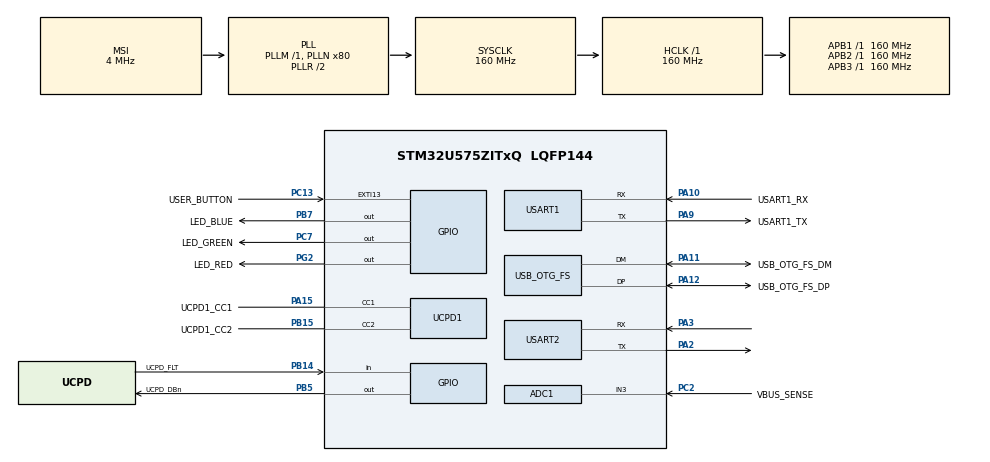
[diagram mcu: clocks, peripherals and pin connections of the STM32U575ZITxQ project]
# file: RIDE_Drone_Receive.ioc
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ADC1.NbrOfConversion=1
ADC1.Resolution=ADC_RESOLUTION_14B
ADC1.master=1
CORTEX_M33_NS.userName=CORTEX_M33
Mcu.Family=STM32U5
Mcu.Name=STM32U575ZITxQ
Mcu.Package=LQFP144
NVIC.OTG_FS_IRQn=true\:0\:0\:false\:false\:true\:true\:true\:true
NVIC.PriorityGroup=NVIC_PRIORITYGROUP_3
NVIC.USART2_IRQn=true\:0\:0\:false\:false\:true\:true\:true\:true
PA10.GPIO_Label=USART1_RX
PA10.GPIO_PuPd=GPIO_PULLDOWN
PA10.GPIO_Speed=GPIO_SPEED_FREQ_VERY_HIGH
PA10.Mode=Asynchronous
PA10.Signal=USART1_RX
PA11.GPIO_Label=USB_OTG_FS_DM
PA11.GPIO_Speed=GPIO_SPEED_FREQ_VERY_HIGH
PA11.Mode=Device_Only
PA11.Signal=USB_OTG_FS_DM
PA12.GPIO_Label=USB_OTG_FS_DP
PA12.GPIO_Speed=GPIO_SPEED_FREQ_VERY_HIGH
PA12.Mode=Device_Only
PA12.Signal=USB_OTG_FS_DP
PA13\ (JTMS/SWDIO).Mode=Trace_Asynchronous_SW
PA13\ (JTMS/SWDIO).Signal=DEBUG_JTMS-SWDIO
PA14\ (JTCK/SWCLK).Mode=Trace_Asynchronous_SW
PA14\ (JTCK/SWCLK).Signal=DEBUG_JTCK-SWCLK
PA15\ (JTDI).GPIO_Label=UCPD1_CC1
PA15\ (JTDI).Mode=Sink_AllSignals
PA15\ (JTDI).Signal=UCPD1_CC1
PA2.Mode=Asynchronous
PA2.Signal=USART2_TX
PA3.Mode=Asynchronous
PA3.Signal=USART2_RX
PA9.GPIO_Label=USART1_TX
PA9.GPIO_PuPd=GPIO_PULLDOWN
PA9.GPIO_Speed=GPIO_SPEED_FREQ_VERY_HIGH
PA9.Mode=Asynchronous
PA9.Signal=USART1_TX
PB14.GPIO_Label=UCPD_FLT
PB14.Signal=GPIO_Input
PB15.GPIO_Label=UCPD1_CC2
PB15.Mode=Sink_AllSignals
PB15.Signal=UCPD1_CC2
PB3\ (JTDO/TRACESWO).Mode=Trace_Asynchronous_SW
PB3\ (JTDO/TRACESWO).Signal=DEBUG_JTDO-SWO
PB5.GPIO_Label=UCPD_DBn
PB5.Signal=GPIO_Output
PB7.GPIO_Label=LED_BLUE
PB7.GPIO_ModeDefaultOutputPP=GPIO_MODE_OUTPUT_PP
PB7.GPIO_PuPd=GPIO_PULLUP
PB7.GPIO_Speed=GPIO_SPEED_FREQ_HIGH
PB7.Signal=GPIO_Output
PC13.GPIO_Label=USER_BUTTON
PC13.GPIO_ModeDefaultEXTI=GPIO_MODE_IT_FALLING
PC13.Signal=GPXTI13
PC14-OSC32_IN\ (PC14).Mode=LSE-External-Oscillator
PC14-OSC32_IN\ (PC14).Signal=RCC_OSC32_IN
PC15-OSC32_OUT\ (PC15).Mode=LSE-External-Oscillator
PC15-OSC32_OUT\ (PC15).Signal=RCC_OSC32_OUT
PC2.GPIO_Label=VBUS_SENSE
PC2.Mode=IN3-Single-Ended
PC2.Signal=ADC1_IN3
PC7.GPIO_Label=LED_GREEN
PC7.GPIO_PuPd=GPIO_PULLUP
PC7.GPIO_Speed=GPIO_SPEED_FREQ_HIGH
PC7.Signal=GPIO_Output
PG2.GPIO_Label=LED_RED
PG2.GPIO_ModeDefaultOutputPP=GPIO_MODE_OUTPUT_PP
PG2.GPIO_PuPd=GPIO_PULLUP
PG2.GPIO_Speed=GPIO_SPEED_FREQ_HIGH
PG2.Signal=GPIO_Output
PWR.PowerMode=PWR_SMPS_SUPPLY
ProjectManager.HeapSize=0x200
ProjectManager.StackSize=0x400
ProjectManager.TargetToolchain=STM32CubeIDE
RCC.ADCFreq_Value=16000000
RCC.AHBFreq_Value=160000000
RCC.APB1Freq_Value=160000000
RCC.APB1TimFreq_Value=160000000
RCC.APB2Freq_Value=160000000
RCC.APB2TimFreq_Value=160000000
RCC.APB3Freq_Value=160000000
RCC.CortexFreq_Value=160000000
RCC.DACCLockSelectionVirtual=RCC_DAC1CLKSOURCE_LSI
RCC.EPOD_VALUE=4000000
RCC.HCLKFreq_Value=160000000
RCC.HSE_VALUE=16000000
RCC.HSI48_VALUE=48000000
RCC.HSI_VALUE=16000000
RCC.LSIDIV_VALUE=32000
RCC.MSI_VALUE=4000000
RCC.PLLN=80
RCC.SYSCLKFreq_VALUE=160000000
RCC.SYSCLKSource=RCC_SYSCLKSOURCE_PLLCLK
RCC.USBFreq_Value=48000000
RCC.VCOOutputFreq_Value=320000000
USART1.VirtualMode-Asynchronous=VM_ASYNC
USART2.VirtualMode-Asynchronous=VM_ASYNC
USB_OTG_FS.VirtualMode=Device_Only
VP_ICACHE_VS_ENABLE_ICACHE_MEMORY.Mode=Memoryregions
VP_ICACHE_VS_ICACHE.Mode=DirectMappedCache
VP_LPBAMQUEUE_VS_QUEUE.Mode=QUEUEMODE
VP_LPBAM_VS_SIG1.Mode=SmartRun
VP_LPBAM_VS_SIG4.Mode=LPDMA1
VP_MEMORYMAP_VS_MEMORYMAP.Mode=CurAppReg
VP_PWR_VS_DBSignals.Mode=DisableDeadBatterySignals
VP_PWR_VS_LPOM.Mode=PowerOptimisation
VP_PWR_VS_SECSignals.Mode=Security/Privilege
VP_PWR_Vdda.Mode=isolationVdda
board=NUCLEO-U575ZI-Q

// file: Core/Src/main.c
/* USER CODE BEGIN Header */
/* RIDE Drone Communication Project: Receiver (ground station) Code */
/**
  ******************************************************************************
  * @file           : main.c
  * @brief          : Main program body
  ******************************************************************************
  * @attention
  *
  * Copyright (c) 2024 STMicroelectronics.
  * All rights reserved.
  *
  * This software is licensed under terms that can be found in the LICENSE file
  * in the root directory of this software component.
  * If no LICENSE file comes with this software, it is provided AS-IS.
  *
  ******************************************************************************
  */
/* USER CODE END Header */
#include "main.h"

ADC_HandleTypeDef hadc1;

UART_HandleTypeDef huart1;
UART_HandleTypeDef huart2;

PCD_HandleTypeDef hpcd_USB_OTG_FS;

/* USER CODE BEGIN PV */
uint8_t txData[] = {0x7E, 0x00, 0x14, 0x10, 0x52, 0x00, 0x13, 0xA2, 0x00, 0x42, 0x3F, 0x4D, 0x3D, 0xFF, 0xFE, 0x00, 0x00, 0x54, 0x78, 0x44, 0x61, 0x74, 0x61, 0x9A};
uint8_t rxData[24];            // main buffer for all received data
// expecting 23 byte long packet during tests
uint8_t newRxData[1];          // temporary buffer for incoming packets
int w_idx = 0;
bool packetIncoming = false;
unsigned int dataSize = 0x0000;
/* USER CODE END PV */

void SystemClock_Config(void);
static void SystemPower_Config(void);
static void MX_GPIO_Init(void);
static void MX_ADC1_Init(void);
static void MX_ICACHE_Init(void);
static void MX_UCPD1_Init(void);
static void MX_USART1_UART_Init(void);
static void MX_USB_OTG_FS_PCD_Init(void);
static void MX_USART2_UART_Init(void);
/* USER CODE BEGIN PFP */

/* Callback for when data is received */
void HAL_UART_RxCpltCallback(UART_HandleTypeDef *huart) {

	// Expecting Receive Packet 0x90 of size 16 Bytes + size of data field in transmit packet
	// Size of test packet is 16 + 6 = 22 bytes

	if (huart->Instance == USART2) {
        // Store received byte in buffer for later use
        /*for(int i = 0; i<sizeof(newRxData); i++){
        	rxData[i] = newRxData[i];
        }*/

		// check for 0x7E to mark the start of a packet
		if(newRxData[0] == 0x7E) packetIncoming = true;

		if(packetIncoming && &rxData[w_idx-3] >= rxData && rxData[w_idx-3] == 0x7E){
			// if incoming packet type is "Receive"
			if(newRxData[0] == 0x90){
				dataSize = dataSize | (rxData[w_idx-2] << 8) | rxData[w_idx-1];
				printf("packet size calculation complete");
			}
		}

		rxData[w_idx] = newRxData[0];

        // if just wrote to rxData index 22
		if(w_idx >= 22){
        	const char *output = "Received Data: ";
        	HAL_UART_Transmit(&huart1, (uint8_t*)output, strlen(output), 1000);

			size_t msgLength = sizeof(rxData) / sizeof(rxData[0]);
			char msg[msgLength * 2 + 1];

			for(size_t i = 0; i<msgLength; i++){
				sprintf(msg + (i*2), "%02X", rxData[i]);
			}
			msg[msgLength*2] = '\0';

			HAL_UART_Transmit(&huart1, (uint8_t*)msg, strlen(msg), 1000);

			output = "\r\n";
			HAL_UART_Transmit(&huart1, (uint8_t*)output, strlen(output), 1000);

			w_idx = 0;
			packetIncoming = false;
			dataSize = 0x0000;
        }else{
        	w_idx++;
        }

        // expecting packet that is 23 bytes long during test
        HAL_UART_Receive_IT(&huart2, newRxData, 1);
    }
}

/* USER CODE END PFP */

int main(void)
{

  /* MCU Configuration--------------------------------------------------------*/

  /* Reset of all peripherals, Initializes the Flash interface and the Systick. */
  HAL_Init();

  /* Configure the system clock */
  SystemClock_Config();

  /* Configure the System Power */
  SystemPower_Config();

  /* Initialize all configured peripherals */
  MX_GPIO_Init();
  MX_ADC1_Init();
  MX_ICACHE_Init();
  MX_UCPD1_Init();
  MX_USART1_UART_Init();
  MX_USB_OTG_FS_PCD_Init();
  MX_USART2_UART_Init();
  /* USER CODE BEGIN 2 */

  // During test, expecting packet that is 23 bytes long
  HAL_UART_Receive_IT(&huart2, newRxData, 1);

  /* USER CODE END 2 */

  /* Infinite loop */
  while (1)
  {

  }
}

void SystemClock_Config(void)
{
  RCC_OscInitTypeDef RCC_OscInitStruct = {0};
  RCC_ClkInitTypeDef RCC_ClkInitStruct = {0};

  /** Configure the main internal regulator output voltage
  */
  if (HAL_PWREx_ControlVoltageScaling(PWR_REGULATOR_VOLTAGE_SCALE1) != HAL_OK)
  {
    Error_Handler();
  }

  /** Initializes the CPU, AHB and APB buses clocks
  */
  RCC_OscInitStruct.OscillatorType = RCC_OSCILLATORTYPE_HSI48|RCC_OSCILLATORTYPE_HSI
                              |RCC_OSCILLATORTYPE_MSI;
  RCC_OscInitStruct.HSIState = RCC_HSI_ON;
  RCC_OscInitStruct.HSI48State = RCC_HSI48_ON;
  RCC_OscInitStruct.HSICalibrationValue = RCC_HSICALIBRATION_DEFAULT;
  RCC_OscInitStruct.MSIState = RCC_MSI_ON;
  RCC_OscInitStruct.MSICalibrationValue = RCC_MSICALIBRATION_DEFAULT;
  RCC_OscInitStruct.MSIClockRange = RCC_MSIRANGE_4;
  RCC_OscInitStruct.PLL.PLLState = RCC_PLL_ON;
  RCC_OscInitStruct.PLL.PLLSource = RCC_PLLSOURCE_MSI;
  RCC_OscInitStruct.PLL.PLLMBOOST = RCC_PLLMBOOST_DIV1;
  RCC_OscInitStruct.PLL.PLLM = 1;
  RCC_OscInitStruct.PLL.PLLN = 80;
  RCC_OscInitStruct.PLL.PLLP = 2;
  RCC_OscInitStruct.PLL.PLLQ = 2;
  RCC_OscInitStruct.PLL.PLLR = 2;
  RCC_OscInitStruct.PLL.PLLRGE = RCC_PLLVCIRANGE_0;
  RCC_OscInitStruct.PLL.PLLFRACN = 0;
  if (HAL_RCC_OscConfig(&RCC_OscInitStruct) != HAL_OK)
  {
    Error_Handler();
  }

  /** Initializes the CPU, AHB and APB buses clocks
  */
  RCC_ClkInitStruct.ClockType = RCC_CLOCKTYPE_HCLK|RCC_CLOCKTYPE_SYSCLK
                              |RCC_CLOCKTYPE_PCLK1|RCC_CLOCKTYPE_PCLK2
                              |RCC_CLOCKTYPE_PCLK3;
  RCC_ClkInitStruct.SYSCLKSource = RCC_SYSCLKSOURCE_PLLCLK;
  RCC_ClkInitStruct.AHBCLKDivider = RCC_SYSCLK_DIV1;
  RCC_ClkInitStruct.APB1CLKDivider = RCC_HCLK_DIV1;
  RCC_ClkInitStruct.APB2CLKDivider = RCC_HCLK_DIV1;
  RCC_ClkInitStruct.APB3CLKDivider = RCC_HCLK_DIV1;

  if (HAL_RCC_ClockConfig(&RCC_ClkInitStruct, FLASH_LATENCY_4) != HAL_OK)
  {
    Error_Handler();
  }
}

/**
  * @brief Power Configuration
  * @retval None
  */
static void SystemPower_Config(void)
{
  HAL_PWREx_EnableVddIO2();

  /*
   * Switch to SMPS regulator instead of LDO
   */
  if (HAL_PWREx_ConfigSupply(PWR_SMPS_SUPPLY) != HAL_OK)
  {
    Error_Handler();
  }
}

static void MX_ADC1_Init(void)
{

  /** Common config
  */
  hadc1.Instance = ADC1;
  hadc1.Init.ClockPrescaler = ADC_CLOCK_ASYNC_DIV1;
  hadc1.Init.Resolution = ADC_RESOLUTION_14B;
  hadc1.Init.GainCompensation = 0;
  hadc1.Init.ScanConvMode = ADC_SCAN_DISABLE;
  hadc1.Init.EOCSelection = ADC_EOC_SINGLE_CONV;
  hadc1.Init.LowPowerAutoWait = DISABLE;
  hadc1.Init.ContinuousConvMode = DISABLE;
  hadc1.Init.NbrOfConversion = 1;
  hadc1.Init.DiscontinuousConvMode = DISABLE;
  hadc1.Init.DMAContinuousRequests = DISABLE;
  hadc1.Init.TriggerFrequencyMode = ADC_TRIGGER_FREQ_HIGH;
  hadc1.Init.Overrun = ADC_OVR_DATA_PRESERVED;
  hadc1.Init.LeftBitShift = ADC_LEFTBITSHIFT_NONE;
  hadc1.Init.ConversionDataManagement = ADC_CONVERSIONDATA_DR;
  hadc1.Init.OversamplingMode = DISABLE;
  if (HAL_ADC_Init(&hadc1) != HAL_OK)
  {
    Error_Handler();
  }

}

static void MX_ICACHE_Init(void)
{

  /** Enable instruction cache in 1-way (direct mapped cache)
  */
  if (HAL_ICACHE_ConfigAssociativityMode(ICACHE_1WAY) != HAL_OK)
  {
    Error_Handler();
  }
  if (HAL_ICACHE_Enable() != HAL_OK)
  {
    Error_Handler();
  }

}

static void MX_UCPD1_Init(void)
{

  LL_GPIO_InitTypeDef GPIO_InitStruct = {0};

  /* Peripheral clock enable */
  LL_APB1_GRP2_EnableClock(LL_APB1_GRP2_PERIPH_UCPD1);

  LL_AHB2_GRP1_EnableClock(LL_AHB2_GRP1_PERIPH_GPIOB);
  LL_AHB2_GRP1_EnableClock(LL_AHB2_GRP1_PERIPH_GPIOA);
  /**UCPD1 GPIO Configuration
  PB15   ------> UCPD1_CC2
  PA15 (JTDI)   ------> UCPD1_CC1
  */
  GPIO_InitStruct.Pin = LL_GPIO_PIN_15;
  GPIO_InitStruct.Mode = LL_GPIO_MODE_ANALOG;
  GPIO_InitStruct.Pull = LL_GPIO_PULL_NO;
  LL_GPIO_Init(GPIOB, &GPIO_InitStruct);

  GPIO_InitStruct.Pin = LL_GPIO_PIN_15;
  GPIO_InitStruct.Mode = LL_GPIO_MODE_ANALOG;
  GPIO_InitStruct.Pull = LL_GPIO_PULL_NO;
  LL_GPIO_Init(GPIOA, &GPIO_InitStruct);

}

static void MX_USART1_UART_Init(void)
{

  huart1.Instance = USART1;
  huart1.Init.BaudRate = 115200;
  huart1.Init.WordLength = UART_WORDLENGTH_8B;
  huart1.Init.StopBits = UART_STOPBITS_1;
  huart1.Init.Parity = UART_PARITY_NONE;
  huart1.Init.Mode = UART_MODE_TX_RX;
  huart1.Init.HwFlowCtl = UART_HWCONTROL_NONE;
  huart1.Init.OverSampling = UART_OVERSAMPLING_16;
  huart1.Init.OneBitSampling = UART_ONE_BIT_SAMPLE_DISABLE;
  huart1.Init.ClockPrescaler = UART_PRESCALER_DIV1;
  huart1.AdvancedInit.AdvFeatureInit = UART_ADVFEATURE_NO_INIT;
  if (HAL_UART_Init(&huart1) != HAL_OK)
  {
    Error_Handler();
  }
  if (HAL_UARTEx_SetTxFifoThreshold(&huart1, UART_TXFIFO_THRESHOLD_1_8) != HAL_OK)
  {
    Error_Handler();
  }
  if (HAL_UARTEx_SetRxFifoThreshold(&huart1, UART_RXFIFO_THRESHOLD_1_8) != HAL_OK)
  {
    Error_Handler();
  }
  if (HAL_UARTEx_DisableFifoMode(&huart1) != HAL_OK)
  {
    Error_Handler();
  }

}

static void MX_USART2_UART_Init(void)
{

  huart2.Instance = USART2;
  huart2.Init.BaudRate = 115200;
  huart2.Init.WordLength = UART_WORDLENGTH_8B;
  huart2.Init.StopBits = UART_STOPBITS_1;
  huart2.Init.Parity = UART_PARITY_NONE;
  huart2.Init.Mode = UART_MODE_TX_RX;
  huart2.Init.HwFlowCtl = UART_HWCONTROL_NONE;
  huart2.Init.OverSampling = UART_OVERSAMPLING_16;
  huart2.Init.OneBitSampling = UART_ONE_BIT_SAMPLE_DISABLE;
  huart2.Init.ClockPrescaler = UART_PRESCALER_DIV1;
  huart2.AdvancedInit.AdvFeatureInit = UART_ADVFEATURE_NO_INIT;
  if (HAL_UART_Init(&huart2) != HAL_OK)
  {
    Error_Handler();
  }
  if (HAL_UARTEx_SetTxFifoThreshold(&huart2, UART_TXFIFO_THRESHOLD_1_8) != HAL_OK)
  {
    Error_Handler();
  }
  if (HAL_UARTEx_SetRxFifoThreshold(&huart2, UART_RXFIFO_THRESHOLD_1_8) != HAL_OK)
  {
    Error_Handler();
  }
  if (HAL_UARTEx_DisableFifoMode(&huart2) != HAL_OK)
  {
    Error_Handler();
  }

}

static void MX_USB_OTG_FS_PCD_Init(void)
{

  hpcd_USB_OTG_FS.Instance = USB_OTG_FS;
  hpcd_USB_OTG_FS.Init.dev_endpoints = 6;
  hpcd_USB_OTG_FS.Init.speed = PCD_SPEED_FULL;
  hpcd_USB_OTG_FS.Init.phy_itface = PCD_PHY_EMBEDDED;
  hpcd_USB_OTG_FS.Init.Sof_enable = DISABLE;
  hpcd_USB_OTG_FS.Init.low_power_enable = DISABLE;
  hpcd_USB_OTG_FS.Init.lpm_enable = DISABLE;
  hpcd_USB_OTG_FS.Init.battery_charging_enable = DISABLE;
  hpcd_USB_OTG_FS.Init.use_dedicated_ep1 = DISABLE;
  hpcd_USB_OTG_FS.Init.vbus_sensing_enable = DISABLE;
  hpcd_USB_OTG_FS.Init.dma_enable = DISABLE;
  if (HAL_PCD_Init(&hpcd_USB_OTG_FS) != HAL_OK)
  {
    Error_Handler();
  }

}

static void MX_GPIO_Init(void)
{
  GPIO_InitTypeDef GPIO_InitStruct = {0};

  /* GPIO Ports Clock Enable */
  __HAL_RCC_GPIOC_CLK_ENABLE();
  __HAL_RCC_GPIOA_CLK_ENABLE();
  __HAL_RCC_GPIOB_CLK_ENABLE();
  __HAL_RCC_GPIOG_CLK_ENABLE();

  /*Configure GPIO pin Output Level */
  HAL_GPIO_WritePin(LED_RED_GPIO_Port, LED_RED_Pin, GPIO_PIN_RESET);

  /*Configure GPIO pin Output Level */
  HAL_GPIO_WritePin(LED_GREEN_GPIO_Port, LED_GREEN_Pin, GPIO_PIN_RESET);

  /*Configure GPIO pin Output Level */
  HAL_GPIO_WritePin(GPIOB, UCPD_DBn_Pin|LED_BLUE_Pin, GPIO_PIN_RESET);

  /*Configure GPIO pin : USER_BUTTON_Pin */
  GPIO_InitStruct.Pin = USER_BUTTON_Pin;
  GPIO_InitStruct.Mode = GPIO_MODE_IT_FALLING;
  GPIO_InitStruct.Pull = GPIO_NOPULL;
  HAL_GPIO_Init(USER_BUTTON_GPIO_Port, &GPIO_InitStruct);

  /*Configure GPIO pin : UCPD_FLT_Pin */
  GPIO_InitStruct.Pin = UCPD_FLT_Pin;
  GPIO_InitStruct.Mode = GPIO_MODE_INPUT;
  GPIO_InitStruct.Pull = GPIO_NOPULL;
  HAL_GPIO_Init(UCPD_FLT_GPIO_Port, &GPIO_InitStruct);

  /*Configure GPIO pin : LED_RED_Pin */
  GPIO_InitStruct.Pin = LED_RED_Pin;
  GPIO_InitStruct.Mode = GPIO_MODE_OUTPUT_PP;
  GPIO_InitStruct.Pull = GPIO_PULLUP;
  GPIO_InitStruct.Speed = GPIO_SPEED_FREQ_HIGH;
  HAL_GPIO_Init(LED_RED_GPIO_Port, &GPIO_InitStruct);

  /*Configure GPIO pin : LED_GREEN_Pin */
  GPIO_InitStruct.Pin = LED_GREEN_Pin;
  GPIO_InitStruct.Mode = GPIO_MODE_OUTPUT_PP;
  GPIO_InitStruct.Pull = GPIO_PULLUP;
  GPIO_InitStruct.Speed = GPIO_SPEED_FREQ_HIGH;
  HAL_GPIO_Init(LED_GREEN_GPIO_Port, &GPIO_InitStruct);

  /*Configure GPIO pin : UCPD_DBn_Pin */
  GPIO_InitStruct.Pin = UCPD_DBn_Pin;
  GPIO_InitStruct.Mode = GPIO_MODE_OUTPUT_PP;
  GPIO_InitStruct.Pull = GPIO_NOPULL;
  GPIO_InitStruct.Speed = GPIO_SPEED_FREQ_LOW;
  HAL_GPIO_Init(UCPD_DBn_GPIO_Port, &GPIO_InitStruct);

  /*Configure GPIO pin : LED_BLUE_Pin */
  GPIO_InitStruct.Pin = LED_BLUE_Pin;
  GPIO_InitStruct.Mode = GPIO_MODE_OUTPUT_PP;
  GPIO_InitStruct.Pull = GPIO_PULLUP;
  GPIO_InitStruct.Speed = GPIO_SPEED_FREQ_HIGH;
  HAL_GPIO_Init(LED_BLUE_GPIO_Port, &GPIO_InitStruct);

}

void Error_Handler(void)
{
  __disable_irq();
  while (1)
  {
  }
}
